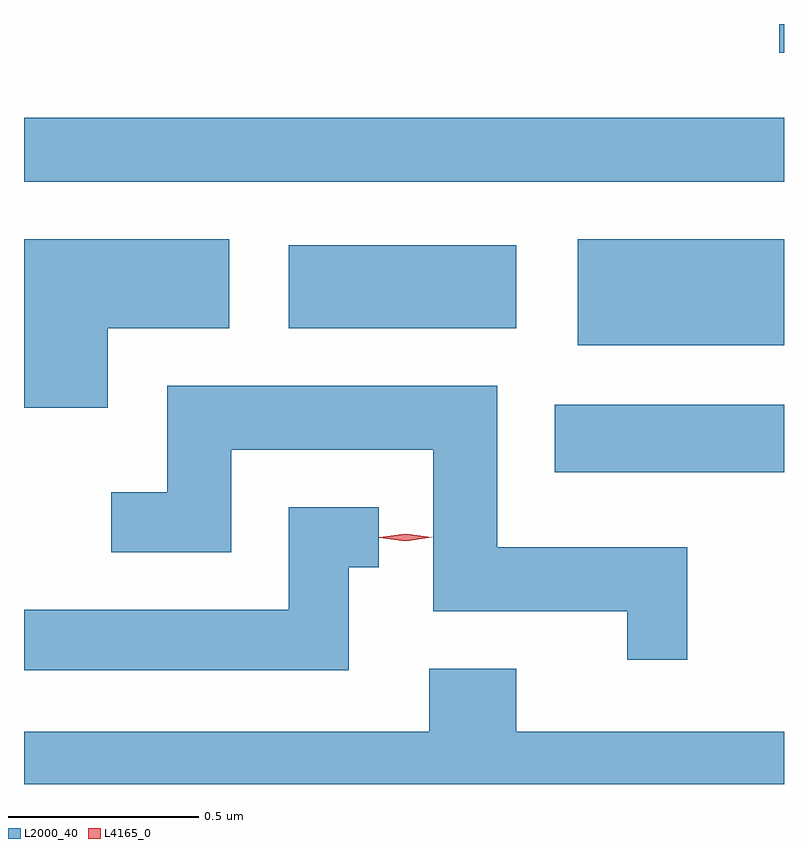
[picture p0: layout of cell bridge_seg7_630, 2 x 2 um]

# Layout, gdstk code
import gdstk
lib = gdstk.Library(unit=1e-6, precision=1e-09)
def R(c, l, rs):  # rectangles x0, y0, x1, y1
    for r in rs: c.add(gdstk.rectangle(r[:2], r[2:], *l))
def P(c, l, *ps):  # polygons
    for p in ps: c.add(gdstk.Polygon(p, *l))
L2000_40 = (2000, 40)
L4165_0 = (4165, 0)

bridge_seg7_630 = lib.new_cell('bridge_seg7_630')
R(bridge_seg7_630, L2000_40, [(808.751,1724.146,809.354,1724.324), (808.811,1724.481,809.354,1724.759), (808.051,1724.526,808.649,1724.744), (807.354,1724.911,809.354,1725.079), (809.341,1725.251,809.354,1725.326)])
P(bridge_seg7_630, L2000_40, [(807.574,1724.526),(807.894,1724.526),(807.894,1724.759),(807.354,1724.759),(807.354,1724.316),(807.574,1724.316)],
  [(809.099,1723.949),(808.599,1723.949),(808.599,1724.374),(807.731,1724.374),(807.731,1724.094),(807.583,1724.094),(807.583,1723.936),(807.899,1723.936),(807.899,1724.206),(808.431,1724.206),(808.431,1723.781),(808.941,1723.781),(808.941,1723.653),(809.099,1723.653)],
  [(808.209,1723.896),(808.288,1723.896),(808.288,1724.054),(808.051,1724.054),(808.051,1723.784),(807.354,1723.784),(807.354,1723.626),(808.209,1723.626)],
  [(809.354,1723.464),(808.649,1723.464),(808.649,1723.629),(808.421,1723.629),(808.421,1723.464),(807.354,1723.464),(807.354,1723.326),(809.354,1723.326)])
P(bridge_seg7_630, L4165_0, [(808.358,1723.965),(808.289,1723.974),(808.289,1723.975),(808.289,1723.975),(808.358,1723.985),(808.428,1723.976),(808.428,1723.976),(808.428,1723.975)])

lib.write_gds('bridge_seg7_630.gds')
